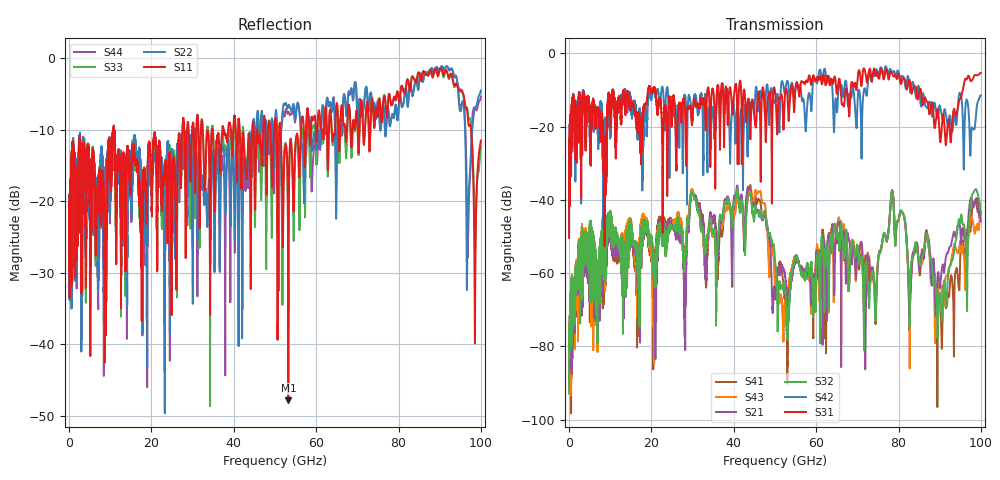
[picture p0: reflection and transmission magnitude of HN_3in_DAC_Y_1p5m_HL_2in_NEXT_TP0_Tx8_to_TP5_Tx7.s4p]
# GHz S RI R 45
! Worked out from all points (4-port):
!   4000 points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, 25 MHz to 100 GHz, reference 45 ohm
!   strongest paths, dB at 25 MHz, 25.02 GHz, 50.02 GHz, 75.03 GHz, 100 GHz:
!     S31: -50.4, -16.3, -10.6, -5.5, -5.3
!     S42: -50.1, -13.8, -13.1, -6.4, -11.5
!     S32: -92.9, -47.8, -56.4, -56.3, -43.6
!     S21: -88.6, -47.5, -65.1, -57.3, -45.9
!     S43: -91.3, -46.1, -64.0, -57.3, -43.6
!     S41: -91.6, -45.7, -58.3, -56.3, -43.4
!   lowest |S11| = -47.8 dB at 53.25 GHz (marker M1), VSWR 1.01, Z = 45.2 + j0.28 ohm
!   |S11| at or under -10 dB: start of sweep to 10.67 GHz; 10.91 GHz to 27.51 GHz (16.6 GHz wide, 86.4 % of centre); 51.37 GHz to 56.3 GHz (4.925 GHz wide, 9.15 % of centre)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
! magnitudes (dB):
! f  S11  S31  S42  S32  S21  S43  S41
! 25 MHz  -25.4  -50.4  -50.1  -92.9  -88.6  -91.3  -91.6
! 30 GHz  -9.3  -16.8  -17.8  -38.2  -38.4  -37.8  -38.0
! 43.85 GHz  -12.0  -16.5  -13.4  -38.3  -36.8  -37.8  -36.2
! 53.25 GHz  -47.8  -17.0  -8.4  -70.8  -68.7  -66.0  -70.2
! 78.42 GHz  -6.6  -5.4  -5.1  -37.6  -37.5  -37.5  -37.6
! 90.4 GHz  -1.5  -21.6  -16.4  -69.9  -60.0  -65.2  -75.6
! 100 GHz  -11.5  -5.3  -11.5  -43.6  -45.9  -43.6  -43.4
